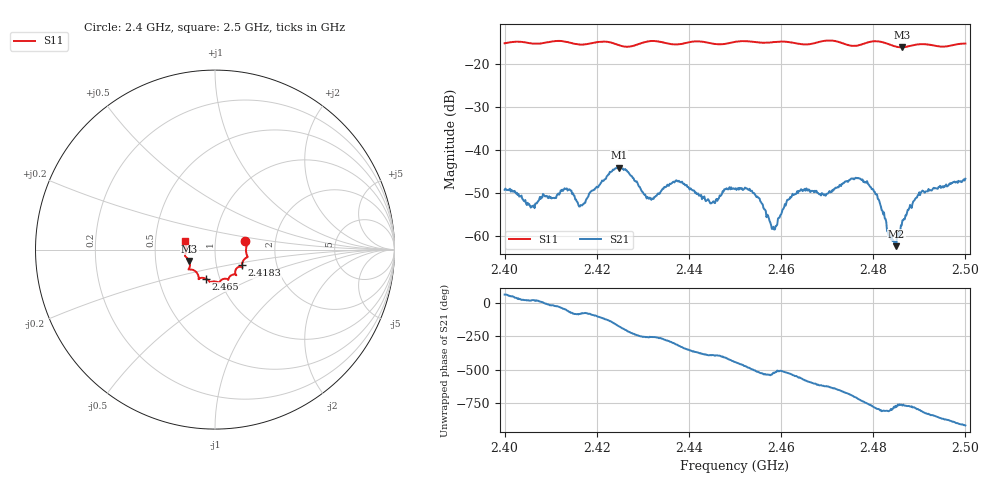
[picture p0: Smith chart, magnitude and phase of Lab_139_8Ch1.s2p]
# Hz S RI R 50
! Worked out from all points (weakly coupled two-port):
!   601 points, 2.4 GHz to 2.5 GHz, reference 50 ohm
!   highest |S21| = -44.07 dB at 2.4248 GHz (marker M1); lowest = -62.4 dB at 2.485 GHz (marker M2)
!   lowest |S11| = -16.1 dB at 2.4862 GHz (marker M3), VSWR 1.37, Z = 37.2 - j4.81 ohm
!   |S11| at or under -10 dB: start of sweep to end of sweep
!   S12 and S22 are empty: the file has one direction only
!   S11 on the Smith chart (normalised r, x): 2.4 GHz: 1.40, +0.13; 2.4183 GHz: 1.33, -0.24; 2.465 GHz: 0.86, -0.28; 2.5 GHz: 0.71, +0.07
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2.4e9  0.1685 0.0465  0.00165 0.00303  0 0  0 0
2.406e9  0.1735 0.00864  0.00206 0.000749  0 0  0 0
2.4135e9  0.1758 -0.0446  0.00193 -0.00301  0 0  0 0
2.416667e9  0.1546 -0.0677  0.000318 -0.00226  0 0  0 0
2.418333e9  0.1498 -0.0865  0.000385 -0.00307  0 0  0 0
2.424833e9  0.1358 -0.0955  -0.00625 -0.000375  0 0  0 0
2.430833e9  0.116 -0.1412  -0.000656 0.00265  0 0  0 0
2.433333e9  0.1176 -0.1411  -0.00043 0.00311  0 0  0 0
2.437667e9  0.0852 -0.1472  0.00329 0.00278  0 0  0 0
2.445167e9  0.0608 -0.1621  0.0021 -0.0013  0 0  0 0
2.45e9  0.0255 -0.1799  0.000408 -0.00347  0 0  0 0
2.454e9  0.0147 -0.1808  -0.00246 -0.00194  0 0  0 0
2.4585e9  -0.0204 -0.1796  -0.00115 -0.000288  0 0  0 0
2.465e9  -0.0526 -0.1613  -0.00274 0.00201  0 0  0 0
2.466667e9  -0.0711 -0.1571  -0.0017 0.00289  0 0  0 0
2.477167e9  -0.1236 -0.1131  0.00462 -0.0006  0 0  0 0
2.480833e9  -0.1478 -0.1102  0.000824 -0.00291  0 0  0 0
2.483333e9  -0.141 -0.0968  -3.19e-05 -0.00102  0 0  0 0
2.485e9  -0.1397 -0.0772  0.000377 -0.000661  0 0  0 0
2.486167e9  -0.1435 -0.0631  0.000961 -0.000912  0 0  0 0
2.490333e9  -0.167 -0.0362  3.51e-05 -0.00321  0 0  0 0
2.5e9  -0.167 0.0469  -0.00441 0.00143  0 0  0 0
